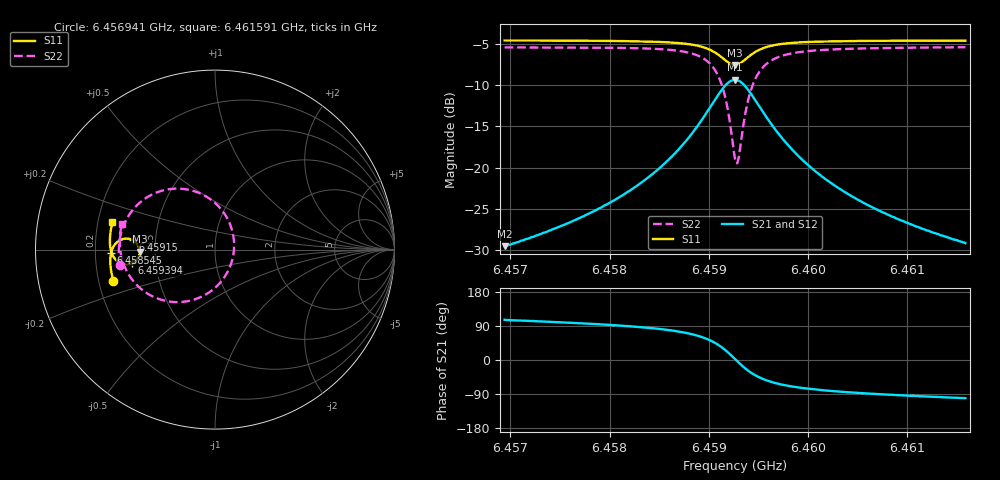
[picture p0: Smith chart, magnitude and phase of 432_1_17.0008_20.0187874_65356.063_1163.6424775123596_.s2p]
#  HZ  S  RI  R  50.00
! Rohde & Schwarz Vector Network Analyzer
! Rohde-Schwarz,ZNB20-2Port,1311601062101988,3.16
! Created: UTC 3/20/2024, 11:11:23 PM
! freq[Hz]  re:S11  im:S11  re:S21  im:S21  re:S12  im:S12  re:S22  im:S22
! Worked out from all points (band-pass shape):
!   401 points, 6.456941 GHz to 6.461591 GHz, reference 50 ohm
!   highest |S21| = -9.33 dB at 6.459266 GHz (marker M1); lowest = -29.6 dB at 6.456941 GHz (marker M2)
!   |S21| within 3 dB of the highest: 6.459034 GHz to 6.459498 GHz (464.8 kHz wide, 0.0072 % of centre)
!   lowest |S11| = -7.5 dB at 6.459266 GHz (marker M3), VSWR 2.45, Z = 20.4 - j0.535 ohm
!   |S11| at or under -10 dB: nowhere
!   |S22| runs from -19.5 to -5.4 dB; largest |S21 - S12| = 0.013
!   S11 on the Smith chart (normalised r, x): 6.456941 GHz: 0.26, -0.14; 6.458545 GHz: 0.27, -0.01; 6.45915 GHz: 0.37, +0.05; 6.459394 GHz: 0.37, -0.07; 6.461591 GHz: 0.26, +0.12
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6.4569407e9  -0.5658 -0.1749  -0.00922 0.032  -0.00733 0.032  -0.5302 -0.0879
6.4577196e9  -0.5805 -0.1071  -0.0059 0.0498  -0.0033 0.0491  -0.5363 0.002
6.4581381e9  -0.5834 -0.0655  -0.000193 0.0683  0.00293 0.067  -0.529 0.0675
6.4584985e9  -0.5799 -0.0229  0.0136 0.0974  0.0175 0.095  -0.5039 0.147
6.458545e9  -0.5785 -0.0165  0.0168 0.1029  0.0209 0.1001  -0.4978 0.1602
6.4587543e9  -0.5665 0.0152  0.0426 0.1344  0.0468 0.1297  -0.4497 0.2314
6.4589054e9  -0.5455 0.0415  0.0846 0.1645  0.0881 0.1581  -0.372 0.2954
6.4590566e9  -0.4997 0.0613  0.1756 0.1837  0.1766 0.1764  -0.2061 0.3397
6.4591496e9  -0.4556 0.0513  0.2647 0.1532  0.2649 0.1472  -0.0411 0.2911
6.4591961e9  -0.4346 0.0329  0.308 0.1109  0.3093 0.1056  0.0412 0.2162
6.4592658e9  -0.4198 -0.0108  0.3413 0.0151  0.345 0.00827  0.1063 0.0386
6.4592775e9  -0.4203 -0.0187  0.3413 -0.00236  0.345 -0.00989  0.1061 0.00533
6.4593007e9  -0.4237 -0.0342  0.3358 -0.0367  0.3396 -0.0458  0.0956 -0.0597
6.4593472e9  -0.4391 -0.0599  0.3077 -0.0962  0.3098 -0.1078  0.0391 -0.1719
6.4593937e9  -0.461 -0.076  0.2663 -0.137  0.2654 -0.15  -0.0447 -0.2464
6.4594867e9  -0.504 -0.0826  0.1823 -0.168  0.1764 -0.1793  -0.2115 -0.2927
6.4596379e9  -0.5473 -0.0622  0.0955 -0.1546  0.0872 -0.1607  -0.3774 -0.2443
6.4598006e9  -0.5686 -0.0344  0.0511 -0.1271  0.0435 -0.1298  -0.4572 -0.1731
6.4600448e9  -0.5812 0.00104  0.0222 -0.0959  0.0164 -0.0965  -0.5048 -0.0915
6.4603819e9  -0.5855 0.0409  0.00663 -0.0702  0.00262 -0.0698  -0.5259 -0.0151
6.4608237e9  -0.5834 0.0853  -0.00135 -0.0512  -0.00423 -0.0504  -0.5306 0.0552
6.461591e9  -0.5711 0.1529  -0.00641 -0.0341  -0.00812 -0.0332  -0.519 0.1448
